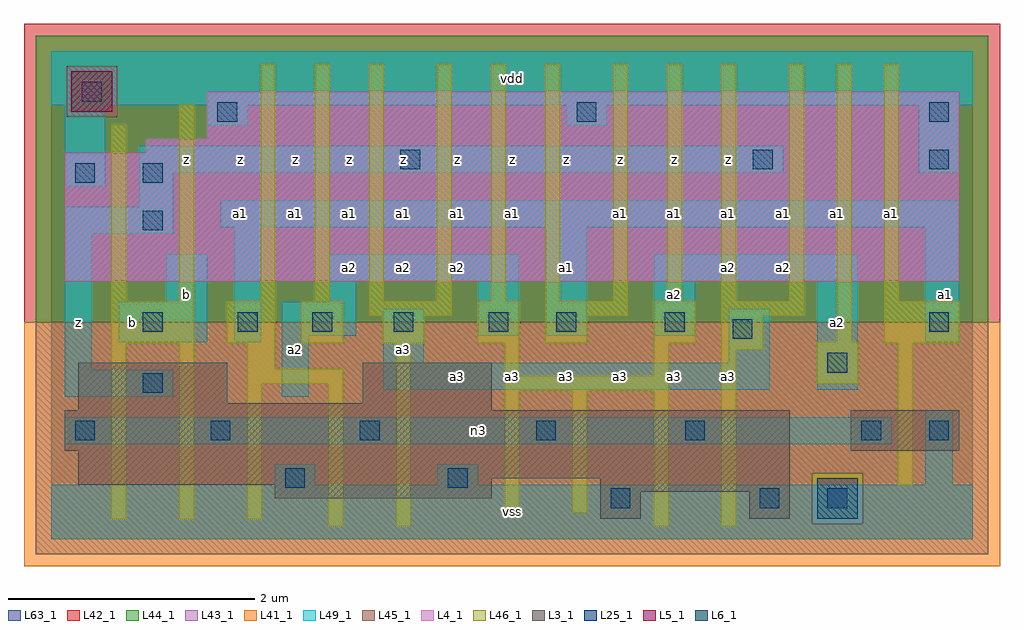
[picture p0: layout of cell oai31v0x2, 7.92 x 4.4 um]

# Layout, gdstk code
import gdstk
lib = gdstk.Library(unit=1e-6, precision=1e-09)
def R(c, l, rs):  # rectangles x0, y0, x1, y1
    for r in rs: c.add(gdstk.rectangle(r[:2], r[2:], *l))
def A(c, l, x, y, w, h, nx, ny, dx, dy):  # array of equal rectangles
    R(c, l, [(x+i*dx, y+j*dy, x+i*dx+w, y+j*dy+h) for i in range(nx) for j in range(ny)])
L3_1 = (3, 1)
L4_1 = (4, 1)
L5_1 = (5, 1)
L6_1 = (6, 1)
L25_1 = (25, 1)
L41_1 = (41, 1)
L42_1 = (42, 1)
L43_1 = (43, 1)
L44_1 = (44, 1)
L45_1 = (45, 1)
L46_1 = (46, 1)
L49_1 = (49, 1)
L63_1 = (63, 1)

oai31v0x2 = lib.new_cell('oai31v0x2')
R(oai31v0x2, L3_1, [(4.455,0.165,4.785,0.385), (5.665,0.165,5.995,0.385), (1.815,0.33,3.575,0.44), (4.455,0.385,5.995,0.495), (0.22,0.44,3.575,0.495), (0.22,0.495,5.995,0.715), (0.11,0.715,5.995,1.045), (6.49,0.715,7.37,1.045), (0.22,1.045,3.575,1.1), (0.22,1.1,1.43,1.43), (2.53,1.1,3.575,1.43)])
R(oai31v0x2, L4_1, [(0.11,2.09,7.37,3.135), (0.77,3.135,7.37,3.245), (1.265,3.245,7.37,3.63)])
R(oai31v0x2, L5_1, [(0.165,3.465,0.495,3.795)])
R(oai31v0x2, L6_1, [(6.215,0.165,6.545,0.495)])
R(oai31v0x2, L25_1, [(4.54,0.25,4.7,0.41), (5.75,0.25,5.91,0.41), (6.3,0.25,6.46,0.41), (1.9,0.415,2.06,0.575), (3.22,0.415,3.38,0.575), (0.195,0.8,0.355,0.96), (1.295,0.8,1.455,0.96), (2.505,0.8,2.665,0.96), (3.935,0.8,4.095,0.96), (5.145,0.8,5.305,0.96), (6.575,0.8,6.735,0.96), (7.125,0.8,7.285,0.96), (0.745,1.185,0.905,1.345), (6.3,1.35,6.46,1.51), (5.53,1.625,5.69,1.785), (0.745,1.68,0.905,1.84), (1.515,1.68,1.675,1.84), (2.12,1.68,2.28,1.84), (2.78,1.68,2.94,1.84), (3.55,1.68,3.71,1.84), (4.1,1.68,4.26,1.84), (4.98,1.68,5.14,1.84), (7.125,1.68,7.285,1.84), (0.745,2.505,0.905,2.665), (0.195,2.89,0.355,3.05), (0.745,2.89,0.905,3.05), (2.835,3,2.995,3.16), (5.695,3,5.855,3.16), (7.125,3,7.285,3.16), (1.35,3.385,1.51,3.545), (4.265,3.385,4.425,3.545), (7.125,3.385,7.285,3.545), (0.25,3.55,0.41,3.71)])
R(oai31v0x2, L41_1, [(-0.22,-0.22,7.7,1.76)])
R(oai31v0x2, L42_1, [(-0.22,1.76,7.7,4.18)])
R(oai31v0x2, L43_1, [(4.455,0.165,4.785,0.385), (5.665,0.165,5.995,0.385), (6.215,0.165,6.545,0.495), (1.815,0.33,3.575,0.44), (4.455,0.385,5.995,0.495), (0.22,0.44,3.575,0.495), (0.22,0.495,5.995,0.715), (0.11,0.715,5.995,1.045), (6.49,0.715,7.37,1.045), (0.22,1.045,3.575,1.1), (0.22,1.1,1.43,1.43), (2.53,1.1,3.575,1.43), (0.11,2.09,7.37,3.135), (0.77,3.135,7.37,3.245), (1.265,3.245,7.37,3.63), (0.165,3.465,0.495,3.795)])
R(oai31v0x2, L44_1, [(6.175,0.125,6.585,0.535), (-0.125,1.76,7.605,3.425), (-0.125,3.425,0.125,3.835), (0.535,3.425,7.605,3.835), (-0.125,3.835,7.605,4.085)])
R(oai31v0x2, L45_1, [(-0.125,-0.125,7.605,0.125), (-0.125,0.125,6.175,0.535), (6.585,0.125,7.605,0.535), (-0.125,0.535,7.605,1.76), (0.125,3.425,0.535,3.835)])
A(oai31v0x2, L46_1, 2.03, 1.59, 0.34, 0.34, 3, 1, 1.43, 0)
A(oai31v0x2, L46_1, 2.58, 1.81, 0.67, 0.12, 3, 1, 1.43, 0)
A(oai31v0x2, L46_1, 1.7, 1.93, 0.12, 1.925, 3, 1, 0.44, 0)
A(oai31v0x2, L46_1, 3.13, 1.93, 0.12, 1.925, 3, 1, 0.44, 0)
A(oai31v0x2, L46_1, 4.56, 1.93, 0.12, 1.925, 3, 1, 0.44, 0)
R(oai31v0x2, L46_1, [(2.25,0.105,2.37,1.26), (2.8,0.105,2.92,1.59), (4.89,0.105,5.01,1.205), (5.44,0.105,5.56,1.535), (0.49,0.16,0.61,1.59), (1.04,0.16,1.16,1.59), (1.59,0.16,1.71,1.26), (3.68,0.215,3.8,1.205), (4.23,0.215,4.35,1.205), (6.87,0.435,6.99,1.59), (3.68,1.205,5.01,1.325), (1.59,1.26,2.37,1.38), (6.21,1.26,6.55,1.6), (3.68,1.325,3.8,1.59), (4.89,1.325,5.01,1.59), (1.59,1.38,1.82,1.59), (5.44,1.535,5.78,1.81), (0.49,1.59,1.16,1.93), (1.425,1.59,1.82,1.93), (2.69,1.59,3.03,1.81), (4.01,1.59,4.35,1.81), (6.76,1.59,7.375,1.93), (6.375,1.6,6.495,3.855), (0.49,1.93,0.61,3.36), (1.04,1.93,1.16,3.525), (5.99,1.93,6.11,3.855), (6.76,1.93,6.88,3.855)])
R(oai31v0x2, L49_1, [(0,0,7.48,0.44), (1.815,0.44,2.145,0.605), (3.135,0.44,3.465,0.605), (7.095,0.44,7.315,1.045), (0.11,0.77,6.82,0.99), (0.11,1.155,0.99,1.375), (1.87,1.155,2.09,1.65), (2.695,1.21,5.83,1.43), (6.215,1.21,6.545,2.09), (0.11,1.375,0.33,2.475), (2.695,1.43,3.025,1.87), (5.5,1.43,5.83,1.87), (0.55,1.595,1.265,1.925), (1.485,1.595,1.705,2.53), (7.095,1.595,7.37,2.53), (1.87,1.65,2.475,1.925), (3.465,1.65,3.795,2.09), (4.015,1.65,4.345,2.53), (4.895,1.65,5.225,2.09), (0.935,1.925,1.265,2.31), (2.255,1.925,2.475,2.09), (2.255,2.09,3.795,2.31), (4.895,2.09,6.545,2.31), (0.11,2.475,0.99,2.695), (1.375,2.53,7.37,2.75), (0.715,2.695,0.99,2.97), (0.11,2.86,0.44,3.52), (0.715,2.97,5.94,3.19), (7.04,2.97,7.37,3.52), (1.265,3.355,1.595,3.52), (4.18,3.355,4.51,3.52), (0,3.52,7.48,3.96)])
R(oai31v0x2, L63_1, [(0,0,7.48,3.96)])
oai31v0x2.add(gdstk.Label('b', (0.66,1.76), layer=49, texttype=1))
oai31v0x2.add(gdstk.Label('z', (0.22,1.76), layer=49, texttype=1))
oai31v0x2.add(gdstk.Label('b', (1.1,1.98), layer=49, texttype=1))
oai31v0x2.add(gdstk.Label('z', (1.1,3.08), layer=49, texttype=1))
oai31v0x2.add(gdstk.Label('a2', (1.98,1.54), layer=49, texttype=1))
oai31v0x2.add(gdstk.Label('a2', (2.42,2.2), layer=49, texttype=1))
oai31v0x2.add(gdstk.Label('a1', (1.54,2.64), layer=49, texttype=1))
oai31v0x2.add(gdstk.Label('a1', (1.98,2.64), layer=49, texttype=1))
oai31v0x2.add(gdstk.Label('a1', (2.42,2.64), layer=49, texttype=1))
oai31v0x2.add(gdstk.Label('z', (1.98,3.08), layer=49, texttype=1))
oai31v0x2.add(gdstk.Label('z', (2.42,3.08), layer=49, texttype=1))
oai31v0x2.add(gdstk.Label('z', (1.54,3.08), layer=49, texttype=1))
oai31v0x2.add(gdstk.Label('vss', (3.74,0.22), layer=49, texttype=1))
oai31v0x2.add(gdstk.Label('a3', (3.3,1.32), layer=49, texttype=1))
oai31v0x2.add(gdstk.Label('a3', (3.74,1.32), layer=49, texttype=1))
oai31v0x2.add(gdstk.Label('a3', (4.18,1.32), layer=49, texttype=1))
oai31v0x2.add(gdstk.Label('a3', (2.86,1.54), layer=49, texttype=1))
oai31v0x2.add(gdstk.Label('a2', (2.86,2.2), layer=49, texttype=1))
oai31v0x2.add(gdstk.Label('a1', (4.18,2.2), layer=49, texttype=1))
oai31v0x2.add(gdstk.Label('a2', (3.3,2.2), layer=49, texttype=1))
oai31v0x2.add(gdstk.Label('a1', (2.86,2.64), layer=49, texttype=1))
oai31v0x2.add(gdstk.Label('a1', (3.3,2.64), layer=49, texttype=1))
oai31v0x2.add(gdstk.Label('a1', (3.74,2.64), layer=49, texttype=1))
oai31v0x2.add(gdstk.Label('z', (3.3,3.08), layer=49, texttype=1))
oai31v0x2.add(gdstk.Label('z', (3.74,3.08), layer=49, texttype=1))
oai31v0x2.add(gdstk.Label('z', (4.18,3.08), layer=49, texttype=1))
oai31v0x2.add(gdstk.Label('z', (2.86,3.08), layer=49, texttype=1))
oai31v0x2.add(gdstk.Label('vdd', (3.74,3.74), layer=49, texttype=1))
oai31v0x2.add(gdstk.Label('a3', (4.62,1.32), layer=49, texttype=1))
oai31v0x2.add(gdstk.Label('a3', (5.5,1.32), layer=49, texttype=1))
oai31v0x2.add(gdstk.Label('a3', (5.06,1.32), layer=49, texttype=1))
oai31v0x2.add(gdstk.Label('a2', (5.5,2.2), layer=49, texttype=1))
oai31v0x2.add(gdstk.Label('a2', (5.94,2.2), layer=49, texttype=1))
oai31v0x2.add(gdstk.Label('a2', (5.06,1.98), layer=49, texttype=1))
oai31v0x2.add(gdstk.Label('a1', (4.62,2.64), layer=49, texttype=1))
oai31v0x2.add(gdstk.Label('a1', (5.5,2.64), layer=49, texttype=1))
oai31v0x2.add(gdstk.Label('a1', (5.94,2.64), layer=49, texttype=1))
oai31v0x2.add(gdstk.Label('a1', (5.06,2.64), layer=49, texttype=1))
oai31v0x2.add(gdstk.Label('z', (5.5,3.08), layer=49, texttype=1))
oai31v0x2.add(gdstk.Label('z', (5.06,3.08), layer=49, texttype=1))
oai31v0x2.add(gdstk.Label('z', (4.62,3.08), layer=49, texttype=1))
oai31v0x2.add(gdstk.Label('n3', (3.465,0.88), layer=49, texttype=1))
oai31v0x2.add(gdstk.Label('a2', (6.38,1.76), layer=49, texttype=1))
oai31v0x2.add(gdstk.Label('a1', (7.26,1.98), layer=49, texttype=1))
oai31v0x2.add(gdstk.Label('a1', (6.38,2.64), layer=49, texttype=1))
oai31v0x2.add(gdstk.Label('a1', (6.82,2.64), layer=49, texttype=1))

lib.write_gds('oai31v0x2.gds')
